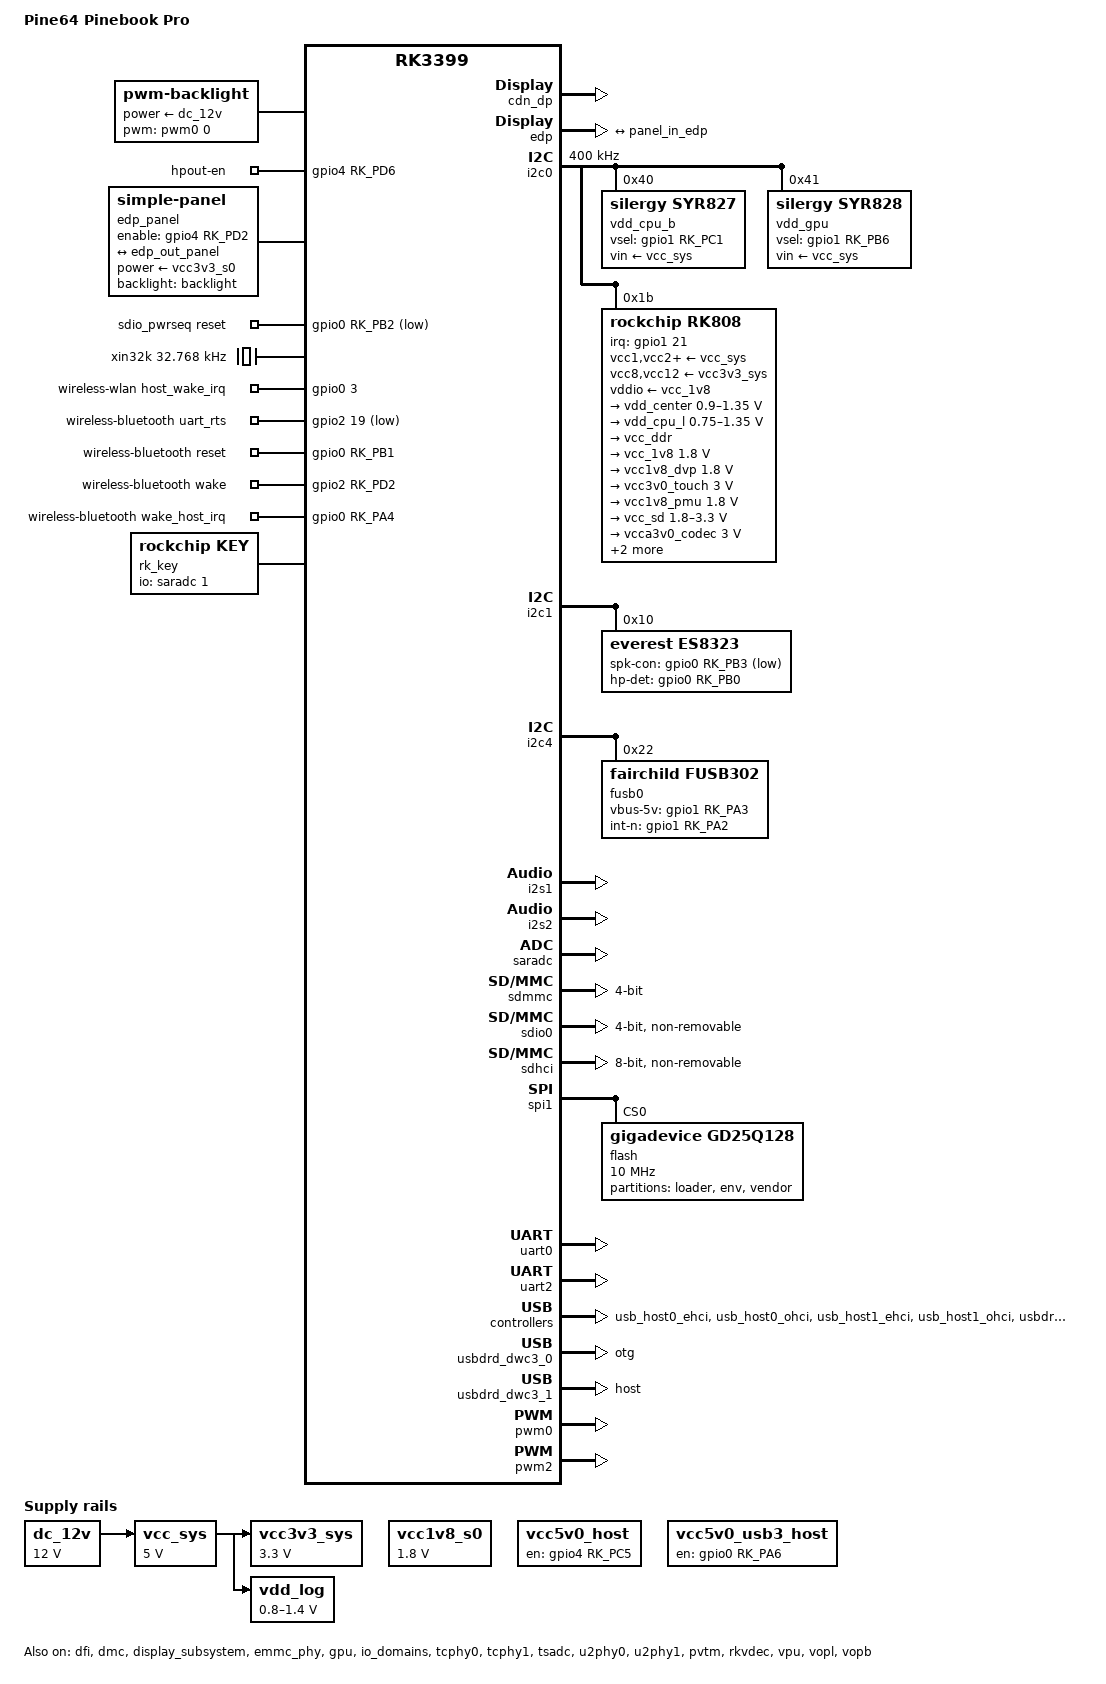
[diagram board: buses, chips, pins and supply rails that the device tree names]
// SPDX-License-Identifier: (GPL-2.0+ OR MIT)
/*
 * Copyright (c) 2018 Pine Microsystems Inc. (PINE64)
 *		Randy Li <ayaka@soulik.info>
 */

/dts-v1/;
#include <dt-bindings/pwm/pwm.h>
#include <dt-bindings/input/input.h>
#include "rk3399.dtsi"
#include "rk3399-opp.dtsi"
#include "rk3399-vop-clk-set.dtsi"

/ {
	model = "Pine64 Pinebook Pro";
	compatible = "pine64,pinebook-pro", "rockchip,rk3399";

	chosen {
		bootargs = "earlycon=uart8250,mmio32,0xff1a0000 swiotlb=1 video=eDP-1:1920x1080@60";
		stdout-path = "serial2:1500000n8";
	};

	reserved-memory {
		#address-cells = <2>;
		#size-cells = <2>;
		ranges;

		drm_logo: drm-logo@00000000 {
			compatible = "rockchip,drm-logo";
			reg = <0x0 0x0 0x0 0x0>;
		};
	};

	backlight: edp-backlight {
		compatible = "pwm-backlight";
		pwms = <&pwm0 0 740740 0>;
		power-supply = <&dc_12v>;
		brightness-levels = <
			  0   1   2   3   4   5   6   7
			  8   9  10  11  12  13  14  15
			 16  17  18  19  20  21  22  23
			 24  25  26  27  28  29  30  31
			 32  33  34  35  36  37  38  39
			 40  41  42  43  44  45  46  47
			 48  49  50  51  52  53  54  55
			 56  57  58  59  60  61  62  63
			 64  65  66  67  68  69  70  71
			 72  73  74  75  76  77  78  79
			 80  81  82  83  84  85  86  87
			 88  89  90  91  92  93  94  95
			 96  97  98  99 100 101 102 103
			104 105 106 107 108 109 110 111
			112 113 114 115 116 117 118 119
			120 121 122 123 124 125 126 127
			128 129 130 131 132 133 134 135
			136 137 138 139 140 141 142 143
			144 145 146 147 148 149 150 151
			152 153 154 155 156 157 158 159
			160 161 162 163 164 165 166 167
			168 169 170 171 172 173 174 175
			176 177 178 179 180 181 182 183
			184 185 186 187 188 189 190 191
			192 193 194 195 196 197 198 199
			200 201 202 203 204 205 206 207
			208 209 210 211 212 213 214 215
			216 217 218 219 220 221 222 223
			224 225 226 227 228 229 230 231
			232 233 234 235 236 237 238 239
			240 241 242 243 244 245 246 247
			248 249 250 251 252 253 254 255>;
		default-brightness-level = <200>;
		status = "okay";
	};

	switches {
		compatible = "gpio-leds";

		hpout-en {
			gpios = <&gpio4 RK_PD6 GPIO_ACTIVE_HIGH>;
			default-state = "on";
		};
	};

	edp_panel: edp-panel {
		compatible = "simple-panel";
		backlight = <&backlight>;
		power-supply = <&vcc3v3_s0>;
		pinctrl-names = "default";
		pinctrl-0 = <&panel_en>;
		enable-gpios = <&gpio4 RK_PD2 GPIO_ACTIVE_HIGH>;
		prepare-delay-ms = <20>;
		enable-delay-ms = <20>;
		status = "okay";

		ports {
			panel_in_edp: endpoint {
				remote-endpoint = <&edp_out_panel>;
			};
		};
	};

	/* first 64k(0xff8c0000~0xff8d0000) for ddr and suspend */
	iram: sram@ff8d0000 {
		compatible = "mmio-sram";
		reg = <0x0 0xff8d0000 0x0 0x20000>; /* 128k */
	};

	dc_12v: dc-12v {
		compatible = "regulator-fixed";
		regulator-name = "dc_12v";
		regulator-always-on;
		regulator-boot-on;
		regulator-min-microvolt = <12000000>;
		regulator-max-microvolt = <12000000>;
	};

	vcc1v8_s0: vcc1v8-s0 {
		compatible = "regulator-fixed";
		regulator-name = "vcc1v8_s0";
		regulator-min-microvolt = <1800000>;
		regulator-max-microvolt = <1800000>;
		regulator-always-on;
	};

	vcc_sys: vcc-sys {
		compatible = "regulator-fixed";
		regulator-name = "vcc_sys";
		regulator-min-microvolt = <5000000>;
		regulator-max-microvolt = <5000000>;
		regulator-always-on;
		vin-supply = <&dc_12v>;
	};

	vcc3v3_sys: vcc3v3-sys {
		compatible = "regulator-fixed";
		regulator-name = "vcc3v3_sys";
		regulator-min-microvolt = <3300000>;
		regulator-max-microvolt = <3300000>;
		regulator-always-on;
		vin-supply = <&vcc_sys>;
	};

	vcc5v0_host: vcc5v0-host-regulator {
		compatible = "regulator-fixed";
		enable-active-high;
		gpio = <&gpio4 RK_PC5 GPIO_ACTIVE_HIGH>;
		pinctrl-names = "default";
		pinctrl-0 = <&host_vbus_drv>;
		regulator-name = "vcc5v0_host";
		regulator-always-on;
	};

	vcc5v0_usb3_host: vcc5v0-usb3-host-regulator {
		compatible = "regulator-fixed";
		enable-active-high;
		gpio = <&gpio0 RK_PA6 GPIO_ACTIVE_HIGH>;
		pinctrl-names = "default";
		pinctrl-0 = <&host_usb3_drv>;
		regulator-name = "vcc5v0_usb3_host";
		regulator-always-on;
	};

	vdd_log: vdd-log {
		compatible = "pwm-regulator";
		pwms = <&pwm2 0 25000 1>;
		regulator-name = "vdd_log";
		regulator-min-microvolt = <800000>;
		regulator-max-microvolt = <1400000>;
		regulator-always-on;
		regulator-boot-on;

		/* for rockchip boot on */
		rockchip,pwm_id= <2>;
		rockchip,pwm_voltage = <900000>;

		pwm-supply = <&vcc_sys>;
	};

	sdio_pwrseq: sdio-pwrseq {
		compatible = "mmc-pwrseq-simple";
		clocks = <&rk808 1>;
		clock-names = "ext_clock";
		pinctrl-names = "default";
		pinctrl-0 = <&wifi_enable_h>;

		/*
		 * On the module itself this is one of these (depending
		 * on the actual card populated):
		 * - SDIO_RESET_L_WL_REG_ON
		 * - PDN (power down when low)
		 */
		reset-gpios = <&gpio0 RK_PB2 GPIO_ACTIVE_LOW>;
	};

	xin32k: xin32k {
		compatible = "fixed-clock";
		clock-frequency = <32768>;
		clock-output-names = "xin32k";
		#clock-cells = <0>;
	};

	wireless-wlan {
		compatible = "wlan-platdata";
		rockchip,grf = <&grf>;
		wifi_chip_type = "ap6354";
		sdio_vref = <1800>;
		WIFI,host_wake_irq = <&gpio0 3 GPIO_ACTIVE_HIGH>;
		status = "okay";
	};

	wireless-bluetooth {
		compatible = "bluetooth-platdata";
		clocks = <&rk808 1>;
		clock-names = "ext_clock";
		uart_rts_gpios = <&gpio2 19 GPIO_ACTIVE_LOW>;
		pinctrl-names = "default", "rts_gpio";
		pinctrl-0 = <&uart0_rts>;
		pinctrl-1 = <&uart0_gpios>;
		BT,reset_gpio    = <&gpio0 RK_PB1 GPIO_ACTIVE_HIGH>;
		BT,wake_gpio     = <&gpio2 RK_PD2 GPIO_ACTIVE_HIGH>;
		BT,wake_host_irq = <&gpio0 RK_PA4 GPIO_ACTIVE_HIGH>;
		status = "okay";
	};

	es8323-sound {
		status = "okay";
		compatible = "simple-audio-card";
		simple-audio-card,format = "i2s";
		simple-audio-card,name = "rockchip,es8323-codec";
		simple-audio-card,mclk-fs = <512>;

		simple-audio-card,cpu {
			sound-dai = <&i2s1>;
			system-clock-frequency = <12288000>;
		};
		simple-audio-card,codec {
			sound-dai = <&es8323>;
			system-clock-frequency = <12288000>;
		};
	};

	test-power {
		status = "okay";
	};

	rk_key: rockchip-key {
		compatible = "rockchip,key";
		status = "okay";

		io-channels = <&saradc 1>;

		power-key {
			gpios = <&gpio0 RK_PA5 GPIO_ACTIVE_LOW>;
			linux,code = <116>;
			label = "power";
			gpio-key,wakeup;
		};
	};

	hdmi_dp_sound: hdmi-dp-sound {
		status = "okay";
		compatible = "rockchip,rk3399-hdmi-dp";
		rockchip,cpu = <&i2s2>;
		rockchip,codec = <&hdmi>, <&cdn_dp>;
	};

	hall_sensor: hall-mh248 {
		compatible = "hall-mh248";
		pinctrl-names = "default";
		pinctrl-0 = <&mh248_irq_gpio>;
		irq-gpio = <&gpio4 RK_PD3 IRQ_TYPE_EDGE_BOTH>;
		hall-active = <1>;
		status = "disabled";
	};
};

&cdn_dp {
	status = "okay";
	extcon = <&fusb0>;
};

&cluster0_opp {
	opp-1512000000 {
		opp-hz = /bits/ 64 <1512000000>;
		opp-microvolt = <1200000>;
		opp-microvolt-L0 = <1200000>;
		opp-microvolt-L1 = <1175000>;
		opp-microvolt-L2 = <1150000>;
		opp-microvolt-L3 = <1125000>;
		clock-latency-ns = <40000>;
	};
};

&cluster1_opp {
	opp-1992000000 {
		opp-hz = /bits/ 64 <1992000000>;
		opp-microvolt = <1300000>;
		clock-latency-ns = <40000>;
	};
};

&cpu_l0 {
	cpu-supply = <&vdd_cpu_l>;
};

&cpu_l1 {
	cpu-supply = <&vdd_cpu_l>;
};

&cpu_l2 {
	cpu-supply = <&vdd_cpu_l>;
};

&cpu_l3 {
	cpu-supply = <&vdd_cpu_l>;
};

&cpu_b0 {
	cpu-supply = <&vdd_cpu_b>;
};

&cpu_b1 {
	cpu-supply = <&vdd_cpu_b>;
};

&dfi {
	status = "okay";
};

&dmc {
	status = "okay";
	center-supply = <&vdd_center>;
	upthreshold = <40>;
	downdifferential = <20>;
	system-status-freq = <
		/*system status         freq(KHz)*/
		SYS_STATUS_NORMAL       933000
		SYS_STATUS_REBOOT       400000
		SYS_STATUS_SUSPEND      400000
		SYS_STATUS_VIDEO_1080P  933000
		SYS_STATUS_VIDEO_4K     933000
		SYS_STATUS_VIDEO_4K_10B 933000
		SYS_STATUS_PERFORMANCE  933000
		SYS_STATUS_BOOST        400000
		SYS_STATUS_DUALVIEW     933000
		SYS_STATUS_ISP          933000
	>;
	vop-bw-dmc-freq = <
	/* min_bw(MB/s) max_bw(MB/s) freq(KHz) */
		0       577      200000
		578     1701     300000
		1702    99999    400000
	>;
	auto-min-freq = <400000>;
};

&dmc_opp_table {
	opp-933000000 {
		opp-hz = /bits/ 64 <933000000>;
		opp-microvolt = <900000>;
	};
};

&display_subsystem {
	status = "okay";

	ports = <&vopb_out>, <&vopl_out>;
	logo-memory-region = <&drm_logo>;

	route {
		route_dp: route-dp {
			logo,uboot = "logo.bmp";
			logo,kernel = "logo_kernel.bmp";
			logo,mode = "center";
			charge_logo,mode = "center";
			connect = <&vopl_out_dp>;
		};

		route_edp: route-edp {
			logo,uboot = "logo.bmp";
			logo,kernel = "logo_kernel.bmp";
			logo,mode = "center";
			charge_logo,mode = "center";
			connect = <&vopb_out_edp>;
		};
	};
};

&edp {
	status = "okay";
	pinctrl-names = "default";
	pinctrl-0 = <&edp_hpd>;

	ports {
		edp_out: port@1 {
			reg = <1>;
			#address-cells = <1>;
			#size-cells = <0>;

			edp_out_panel: endpoint@0 {
				reg = <0>;
				remote-endpoint = <&panel_in_edp>;
			};
		};
	};
};

&emmc_phy {
	status = "okay";
};

&i2c0 {
	status = "okay";
	i2c-scl-rising-time-ns = <168>;
	i2c-scl-falling-time-ns = <4>;
	clock-frequency = <400000>;

	vdd_cpu_b: syr827@40 {
		compatible = "silergy,syr827";
		reg = <0x40>;
		regulator-compatible = "fan53555-reg";
		pinctrl-0 = <&vsel1_gpio>;
		vsel-gpios = <&gpio1 RK_PC1 GPIO_ACTIVE_HIGH>;
		regulator-name = "vdd_cpu_b";
		regulator-min-microvolt = <712500>;
		regulator-max-microvolt = <1500000>;
		regulator-ramp-delay = <1000>;
		fcs,suspend-voltage-selector = <1>;
		regulator-always-on;
		regulator-boot-on;
		vin-supply = <&vcc_sys>;
		regulator-state-mem {
			regulator-off-in-suspend;
		};
	};

	vdd_gpu: syr828@41 {
		compatible = "silergy,syr828";
		reg = <0x41>;
		regulator-compatible = "fan53555-reg";
		pinctrl-0 = <&vsel2_gpio>;
		vsel-gpios = <&gpio1 RK_PB6 GPIO_ACTIVE_HIGH>;
		regulator-name = "vdd_gpu";
		regulator-min-microvolt = <712500>;
		regulator-max-microvolt = <1500000>;
		regulator-ramp-delay = <1000>;
		fcs,suspend-voltage-selector = <1>;
		regulator-always-on;
		regulator-boot-on;
		vin-supply = <&vcc_sys>;
		regulator-initial-mode = <1>; /* 1:force PWM 2:auto */
		regulator-state-mem {
			regulator-off-in-suspend;
		};
	};

	rk808: pmic@1b {
		compatible = "rockchip,rk808";
		reg = <0x1b>;
		interrupt-parent = <&gpio1>;
		interrupts = <21 IRQ_TYPE_LEVEL_LOW>;
		pinctrl-names = "default";
		pinctrl-0 = <&pmic_int_l>;
		rockchip,system-power-controller;
		wakeup-source;
		#clock-cells = <1>;
		clock-output-names = "rk808-clkout1", "rk808-clkout2";

		vcc1-supply = <&vcc_sys>;
		vcc2-supply = <&vcc_sys>;
		vcc3-supply = <&vcc_sys>;
		vcc4-supply = <&vcc_sys>;
		vcc6-supply = <&vcc_sys>;
		vcc7-supply = <&vcc_sys>;
		vcc8-supply = <&vcc3v3_sys>;
		vcc9-supply = <&vcc_sys>;
		vcc10-supply = <&vcc_sys>;
		vcc11-supply = <&vcc_sys>;
		vcc12-supply = <&vcc3v3_sys>;
		vddio-supply = <&vcc_1v8>;

		regulators {
			vdd_center: DCDC_REG1 {
				regulator-name = "vdd_center";
				regulator-min-microvolt = <900000>;
				regulator-max-microvolt = <1350000>;
				regulator-ramp-delay = <6001>;
				regulator-always-on;
				regulator-boot-on;
				regulator-state-mem {
					regulator-off-in-suspend;
				};
			};

			vdd_cpu_l: DCDC_REG2 {
				regulator-name = "vdd_cpu_l";
				regulator-min-microvolt = <750000>;
				regulator-max-microvolt = <1350000>;
				regulator-ramp-delay = <6001>;
				regulator-always-on;
				regulator-boot-on;
				regulator-state-mem {
					regulator-off-in-suspend;
				};
			};

			vcc_ddr: DCDC_REG3 {
				regulator-name = "vcc_ddr";
				regulator-always-on;
				regulator-boot-on;
				regulator-state-mem {
					regulator-on-in-suspend;
				};
			};

			vcc_1v8: DCDC_REG4 {
				regulator-name = "vcc_1v8";
				regulator-min-microvolt = <1800000>;
				regulator-max-microvolt = <1800000>;
				regulator-always-on;
				regulator-boot-on;
				regulator-state-mem {
					regulator-on-in-suspend;
					regulator-suspend-microvolt = <1800000>;
				};
			};

			vcc1v8_dvp: LDO_REG1 {
				regulator-name = "vcc1v8_dvp";
				regulator-min-microvolt = <1800000>;
				regulator-max-microvolt = <1800000>;
				regulator-always-on;
				regulator-boot-on;
				regulator-state-mem {
					regulator-on-in-suspend;
					regulator-suspend-microvolt = <1800000>;
				};
			};

			vcc3v0_touch: LDO_REG2 {
				regulator-name = "vcc3v0_touch";
				regulator-min-microvolt = <3000000>;
				regulator-max-microvolt = <3000000>;
				regulator-always-on;
				regulator-boot-on;
				regulator-state-mem {
					regulator-on-in-suspend;
					regulator-suspend-microvolt = <3000000>;
				};
			};

			vcc1v8_pmu: LDO_REG3 {
				regulator-name = "vcc1v8_pmu";
				regulator-min-microvolt = <1800000>;
				regulator-max-microvolt = <1800000>;
				regulator-always-on;
				regulator-boot-on;
				regulator-state-mem {
					regulator-on-in-suspend;
					regulator-suspend-microvolt = <1800000>;
				};
			};

			vcc_sd: LDO_REG4 {
				regulator-name = "vcc_sd";
				regulator-min-microvolt = <1800000>;
				regulator-max-microvolt = <3300000>;
				regulator-always-on;
				regulator-boot-on;
				regulator-state-mem {
					regulator-on-in-suspend;
					regulator-suspend-microvolt = <3300000>;
				};
			};

			vcca3v0_codec: LDO_REG5 {
				regulator-name = "vcca3v0_codec";
				regulator-min-microvolt = <3000000>;
				regulator-max-microvolt = <3000000>;
				regulator-always-on;
				regulator-boot-on;
				regulator-state-mem {
					regulator-on-in-suspend;
					regulator-suspend-microvolt = <3000000>;
				};
			};

			vcc_1v5: LDO_REG6 {
				regulator-name = "vcc_1v5";
				regulator-min-microvolt = <1500000>;
				regulator-max-microvolt = <1500000>;
				regulator-always-on;
				regulator-boot-on;
				regulator-state-mem {
					regulator-on-in-suspend;
					regulator-suspend-microvolt = <1500000>;
				};
			};

			vcca1v8_codec: LDO_REG7 {
				regulator-name = "vcca1v8_codec";
				regulator-min-microvolt = <1800000>;
				regulator-max-microvolt = <1800000>;
				regulator-always-on;
				regulator-boot-on;
				regulator-state-mem {
					regulator-on-in-suspend;
					regulator-suspend-microvolt = <1800000>;
				};
			};

			vcc_3v0: LDO_REG8 {
				regulator-name = "vcc_3v0";
				regulator-min-microvolt = <3000000>;
				regulator-max-microvolt = <3000000>;
				regulator-always-on;
				regulator-boot-on;
				regulator-state-mem {
					regulator-on-in-suspend;
					regulator-suspend-microvolt = <3000000>;
				};
			};

			vcc3v3_s3: SWITCH_REG1 {
				regulator-name = "vcc3v3_s3";
				regulator-always-on;
				regulator-boot-on;
				regulator-state-mem {
					regulator-on-in-suspend;
				};
			};

			vcc3v3_s0: SWITCH_REG2 {
				regulator-name = "vcc3v3_s0";
				regulator-always-on;
				regulator-boot-on;
				regulator-state-mem {
					regulator-on-in-suspend;
				};
			};
		};
	};
};

&i2c1 {
	status = "okay";
	i2c-scl-rising-time-ns = <300>;
	i2c-scl-falling-time-ns = <15>;

	es8323: es8323@10 {
		#sound-dai-cells = <0>;
		compatible = "everest,es8323";
		reg = <0x10>;
		clocks = <&cru SCLK_I2S_8CH_OUT>;
		clock-names = "mclk";
		pinctrl-names = "default";
		pinctrl-0 = <&i2s_8ch_mclk>;
		spk-con-gpio = <&gpio0 RK_PB3 GPIO_ACTIVE_LOW>;
		hp-det-gpio = <&gpio0 RK_PB0 GPIO_ACTIVE_HIGH>;
	};
};

&i2c4 {
	status = "okay";
	fusb0: fusb30x@22 {
		compatible = "fairchild,fusb302";
		reg = <0x22>;
		pinctrl-names = "default";
		pinctrl-0 = <&fusb0_int>;
		vbus-5v-gpios = <&gpio1 RK_PA3 GPIO_ACTIVE_HIGH>;
		int-n-gpios = <&gpio1 RK_PA2 GPIO_ACTIVE_HIGH>;
		status = "okay";
	};
};

&i2s1 {
	status = "okay";
	rockchip,i2s-broken-burst-len;
	rockchip,playback-channels = <8>;
	rockchip,capture-channels = <8>;
	#sound-dai-cells = <0>;
};

&i2s2 {
	#sound-dai-cells = <0>;
	status = "okay";
};

&gpu {
	status = "okay";
	mali-supply = <&vdd_gpu>;
};

/* HACK: keep MALI version on linux */
&gpu_power_model {
	// for DDK r14.
	voltage = <900>;
	frequency = <500>;
	static-power = <300>;
	dynamic-power = <396>;
};

&io_domains {
	status = "okay";

	bt656-supply = <&vcc1v8_dvp>; /* bt656_gpio2ab_ms */
	audio-supply = <&vcca1v8_codec>; /* audio_gpio3d4a_ms */
	sdmmc-supply = <&vcc_sd>; /* sdmmc_gpio4b_ms */
	gpio1830-supply = <&vcc_3v0>; /* gpio1833_gpio4cd_ms */
};

&saradc {
	status = "okay";
};

&threshold {
	temperature = <80000>;
};

&target {
	temperature = <95000>;
};

&soc_crit {
	temperature = <100000>;
};

&sdmmc {
	clock-frequency = <50000000>;
	clock-freq-min-max = <400000 150000000>;
	supports-sd;
	bus-width = <4>;
	cap-mmc-highspeed;
	cap-sd-highspeed;
	disable-wp;
	num-slots = <1>;
	sd-uhs-sdr104;
	vqmmc-supply = <&vcc_sd>;
	pinctrl-names = "default";
	pinctrl-0 = <&sdmmc_clk &sdmmc_cmd &sdmmc_cd &sdmmc_bus4>;
	card-detect-delay = <800>;
	status = "okay";
};

&sdio0 {
	clock-frequency = <50000000>;
	clock-freq-min-max = <200000 50000000>;
	supports-sdio;
	bus-width = <4>;
	disable-wp;
	cap-sd-highspeed;
	cap-sdio-irq;
	keep-power-in-suspend;
	mmc-pwrseq = <&sdio_pwrseq>;
	non-removable;
	num-slots = <1>;
	pinctrl-names = "default";
	pinctrl-0 = <&sdio0_bus4 &sdio0_cmd &sdio0_clk>;
	sd-uhs-sdr104;
	status = "okay";
	defer_pcie = <2000>;
};

&sdhci {
	bus-width = <8>;
	mmc-hs200-1_8v;
	supports-emmc;
	non-removable;
	keep-power-in-suspend;
	status = "okay";
};

&spi1 {
	status = "okay";
	max-freq = <10000000>;

	flash@0 {
		#address-cells = <0x1>;
		#size-cells = <1>;
		compatible = "gigadevice,gd25q128", "jedec,spi-nor";
		reg = <0x0>;
		spi-max-frequency = <10000000>;
		status = "okay";

		partitions {
			compatible = "fixed-partitions";
			#address-cells = <1>;
			#size-cells = <1>;

			loader@8000 {
				label = "loader";
				reg = <0x0 0x3F8000>;
			};

			env@3f8000 {
				label = "env";
				reg = <0x3F8000 0x8000>;
			};

			vendor@7c0000 {
				label = "vendor";
				reg = <0x7C0000 0x40000>;
			};
		};
	};
};

&tcphy0 {
	extcon = <&fusb0>;
	status = "okay";
};

&tcphy1 {
	status = "okay";
};

&tsadc {
	/* tshut mode 0:CRU 1:GPIO */
	rockchip,hw-tshut-mode = <1>;
	/* tshut polarity 0:LOW 1:HIGH */
	rockchip,hw-tshut-polarity = <1>;
	rockchip,hw-tshut-temp = <110000>;
	status = "okay";
};

&u2phy0 {
	status = "okay";
	extcon = <&fusb0>;

	u2phy0_otg: otg-port {
		status = "okay";
	};

	u2phy0_host: host-port {
		phy-supply = <&vcc5v0_host>;
		status = "okay";
	};
};

&u2phy1 {
	status = "okay";

	u2phy1_otg: otg-port {
		status = "okay";
	};

	u2phy1_host: host-port {
		phy-supply = <&vcc5v0_host>;
		status = "okay";
	};
};

&uart0 {
	pinctrl-names = "default";
	pinctrl-0 = <&uart0_xfer &uart0_cts>;
	status = "okay";
};

&uart2 {
	status = "okay";
};

&usb_host0_ehci {
	status = "okay";
};

&usb_host0_ohci {
	status = "okay";
};

&usb_host1_ehci {
	status = "okay";
};

&usb_host1_ohci {
	status = "okay";
};

&usbdrd3_0 {
	extcon = <&fusb0>;
	status = "okay";
};

&usbdrd_dwc3_0 {
	dr_mode = "otg";
	status = "okay";
};

&usbdrd3_1 {
	status = "okay";
};

&usbdrd_dwc3_1 {
	dr_mode = "host";
	status = "okay";
};

&pwm0 {
	status = "okay";
};

&pwm2 {
	status = "okay";
	pinctrl-names = "active";
	pinctrl-0 = <&pwm2_pin_pull_down>;
};

&pinctrl {
	fusb30x {
		fusb0_int: fusb0-int {
			rockchip,pins =
				<1 RK_PA2 RK_FUNC_GPIO &pcfg_pull_up>;
		};
	};

	hallsensor {
		mh248_irq_gpio: mh248-irq-gpio {
			rockchip,pins = <4 RK_PD3 RK_FUNC_GPIO &pcfg_pull_up>;
		};
	};

	panel {
		panel_en: panel-en {
			rockchip,pins = <4 RK_PD2 RK_FUNC_GPIO &pcfg_pull_none>;
		};
	};

	pmic {
		pmic_int_l: pmic-int-l {
			rockchip,pins =
				<1 RK_PC5 RK_FUNC_GPIO &pcfg_pull_up>;
		};

		vsel1_gpio: vsel1-gpio {
			rockchip,pins =
				<1 RK_PC1 RK_FUNC_GPIO &pcfg_pull_down>;
		};

		vsel2_gpio: vsel2-gpio {
			rockchip,pins =
				<1 RK_PB6 RK_FUNC_GPIO &pcfg_pull_down>;
		};
	};

	sdio-pwrseq {
		wifi_enable_h: wifi-enable-h {
			rockchip,pins =
				<0 RK_PB2 RK_FUNC_GPIO &pcfg_pull_none>;
		};
	};

	usb2 {
		host_vbus_drv: host-vbus-drv {
			rockchip,pins =
				<4 RK_PC5 RK_FUNC_GPIO &pcfg_pull_none>;
		};

		host_usb3_drv: host-usb3-drv {
			rockchip,pins = <0 RK_PA6 RK_FUNC_GPIO &pcfg_pull_none>;
		};
	};

	wireless-bluetooth {
		uart0_gpios: uart0-gpios {
			rockchip,pins =
				<2 RK_PC3 RK_FUNC_GPIO &pcfg_pull_none>;
		};
	};
};

&pvtm {
	status = "okay";
};

&pmu_pvtm {
	status = "okay";
};

&pmu_io_domains {
	status = "okay";
	pmu1830-supply = <&vcc_3v0>;
};

&rkvdec {
	status = "okay";
};

&rockchip_suspend {
	status = "okay";
	rockchip,sleep-debug-en = <0>;
	rockchip,sleep-mode-config = <
		(0
		| RKPM_SLP_ARMPD
		| RKPM_SLP_PERILPPD
		| RKPM_SLP_DDR_RET
		| RKPM_SLP_PLLPD
		| RKPM_SLP_CENTER_PD
		| RKPM_SLP_AP_PWROFF
		)
	>;
	rockchip,wakeup-config = <
		(0
		| RKPM_GPIO_WKUP_EN
		| RKPM_PWM_WKUP_EN
		)
	>;
	rockchip,pwm-regulator-config = <
		(0
		| PWM2_REGULATOR_EN
		)
	>;
	rockchip,power-ctrl =
		<&gpio1 RK_PC1 GPIO_ACTIVE_HIGH>,
		<&gpio1 RK_PB6 GPIO_ACTIVE_HIGH>;
};

&vdec_mmu {
	status = "okay";
};

&vpu {
	status = "okay";
};

&vopl {
	status = "okay";
	assigned-clocks = <&cru DCLK_VOP1_DIV>;
	assigned-clock-parents = <&cru PLL_CPLL>;
};

&vopl_mmu {
	status = "okay";
};

&vopb {
	status = "okay";
	assigned-clocks = <&cru DCLK_VOP0_DIV>;
	assigned-clock-parents = <&cru PLL_VPLL>;
};

&vopb_mmu {
	status = "okay";
};
